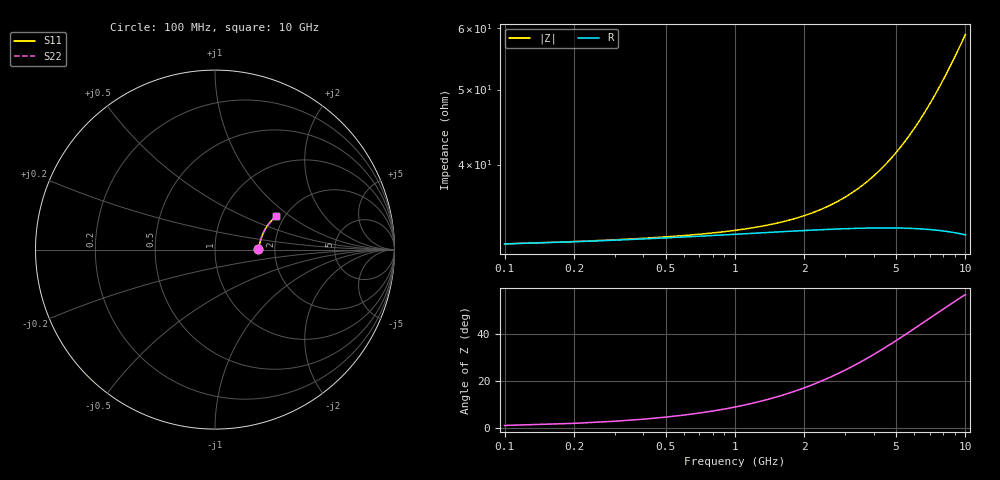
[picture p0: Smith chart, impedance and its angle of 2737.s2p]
# Hz S RI R 50.00
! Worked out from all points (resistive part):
!   100 points, 100 MHz to 10 GHz, reference 50 ohm
!   read as one part in series: R = 31.6 ohm at 100 MHz
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1e8  0.2401 0.00229  0.7599 -0.00343  0.7599 -0.00343  0.2401 0.00229
2e8  0.2413 0.00456  0.7587 -0.00683  0.7587 -0.00683  0.2413 0.00456
4e8  0.243 0.00907  0.757 -0.0136  0.757 -0.0136  0.243 0.00907
7e8  0.2448 0.0158  0.7551 -0.0237  0.7551 -0.0237  0.2448 0.0158
1.3e9  0.248 0.0291  0.7519 -0.0438  0.7519 -0.0438  0.248 0.0291
1.8e9  0.2507 0.04  0.7491 -0.0604  0.7491 -0.0604  0.2507 0.04
2.2e9  0.253 0.0486  0.7466 -0.0736  0.7466 -0.0736  0.253 0.0486
2.6e9  0.2555 0.0571  0.744 -0.0867  0.744 -0.0867  0.2555 0.0571
3e9  0.2582 0.0656  0.7411 -0.0997  0.7411 -0.0997  0.2582 0.0656
3.4e9  0.2612 0.0739  0.738 -0.1126  0.738 -0.1126  0.2612 0.0739
3.8e9  0.2644 0.0821  0.7345 -0.1253  0.7345 -0.1253  0.2644 0.0821
4.2e9  0.2678 0.0901  0.7309 -0.1379  0.7309 -0.1379  0.2678 0.0901
4.6e9  0.2715 0.098  0.7269 -0.1504  0.7269 -0.1504  0.2715 0.098
5.1e9  0.2765 0.1077  0.7216 -0.1658  0.7216 -0.1658  0.2765 0.1077
5.5e9  0.2807 0.1152  0.7171 -0.1779  0.7171 -0.1779  0.2807 0.1152
5.9e9  0.2851 0.1226  0.7123 -0.1898  0.7123 -0.1898  0.2851 0.1226
6.7e9  0.2947 0.1367  0.7019 -0.2131  0.7019 -0.2131  0.2947 0.1367
7.1e9  0.2998 0.1435  0.6964 -0.2244  0.6964 -0.2244  0.2998 0.1435
7.6e9  0.3065 0.1516  0.6892 -0.2383  0.6892 -0.2383  0.3065 0.1516
8.4e9  0.3178 0.164  0.677 -0.2598  0.677 -0.2598  0.3178 0.164
9.2e9  0.3298 0.1754  0.664 -0.2805  0.664 -0.2805  0.3298 0.1754
1e10  0.3423 0.1858  0.6503 -0.3002  0.6503 -0.3002  0.3423 0.1858
